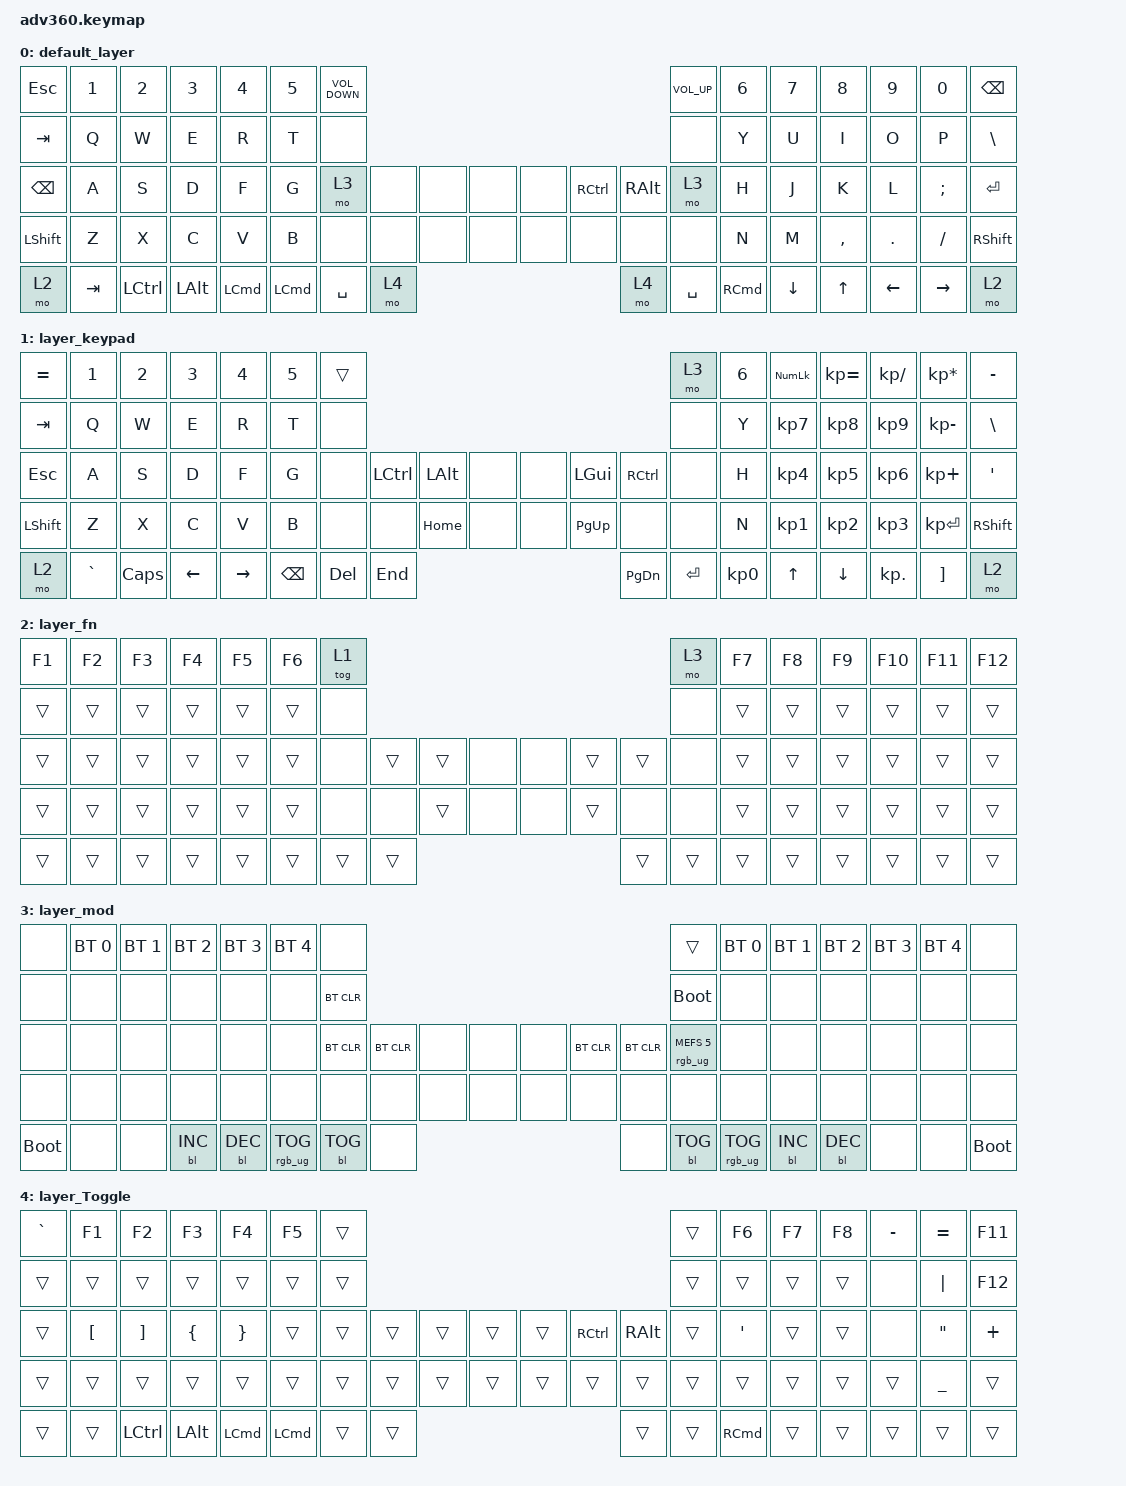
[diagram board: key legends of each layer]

/*
 * Copyright (c) 2020 The ZMK Contributors
 *
 * SPDX-License-Identifier: MIT
 */


/* THIS FILE WAS GENERATED!
 *
 * This file was generated automatically. You may or may not want to
 * edit it directly.
 */

#include <behaviors.dtsi>
#include <dt-bindings/zmk/keys.h>
#include <dt-bindings/zmk/bt.h>
#include <dt-bindings/zmk/rgb.h>
#include <dt-bindings/zmk/backlight.h>

/ {
  behaviors {
    #include "macros.dtsi"

    hm: homerow_mods {
        compatible = "zmk,behavior-hold-tap";
        label = "HOMEROW_MODS";
        #binding-cells = <2>;
        tapping-term-ms = <200>;
        quick_tap_ms = <175>;
        flavor = "tap-preferred";
        bindings = <&kp>, <&kp>;
    };
  };

    keymap {
        compatible = "zmk,keymap";


        default_layer {
            bindings = <
    &kp ESCAPE   &kp N1            &kp N2        &kp N3            &kp N4  &kp N5            &kp C_VOLUME_DOWN                                                                         &kp C_VOLUME_UP  &kp N6          &kp N7        &kp N8          &kp N9           &kp N0  &kp BACKSPACE
       &kp TAB    &kp Q             &kp W         &kp E             &kp R   &kp T                        &none                                                                                   &none   &kp Y           &kp U         &kp I           &kp O            &kp P  &kp BACKSLASH
 &kp BACKSPACE    &kp A             &kp S         &kp D             &kp F   &kp G                        &mo 3      &none   &none   &none   &none  &kp RIGHT_CONTROL  &kp RIGHT_ALT              &mo 3   &kp H           &kp J         &kp K           &kp L         &kp SEMI      &kp ENTER
     &kp LSHFT    &kp Z             &kp X         &kp C             &kp V   &kp B                        &none      &none   &none   &none   &none              &none          &none              &none   &kp N           &kp M     &kp COMMA         &kp DOT         &kp FSLH      &kp RSHFT
         &mo 2  &kp TAB  &kp LEFT_CONTROL  &kp LEFT_ALT  &kp LEFT_COMMAND                     &kp LEFT_COMMAND  &kp SPACE   &mo 4                              &mo 4      &kp SPACE  &kp RIGHT_COMMAND          &kp DOWN_ARROW  &kp UP_ARROW  &kp LEFT_ARROW  &kp RIGHT_ARROW          &mo 2
            >;
        };

        layer_keypad {
            bindings = <
 &kp EQUAL     &kp N1    &kp N2    &kp N3     &kp N4  &kp N5              &trans                                                                 &mo 3  &kp N6  &kp KP_NUM  &kp KP_EQUAL  &kp KP_DIVIDE  &kp KP_MULTIPLY  &kp MINUS
   &kp TAB      &kp Q     &kp W     &kp E      &kp R   &kp T               &none                                                                 &none   &kp Y   &kp KP_N7     &kp KP_N8      &kp KP_N9     &kp KP_MINUS   &kp BSLH
   &kp ESC      &kp A     &kp S     &kp D      &kp F   &kp G               &none  &kp LCTRL  &kp LALT   &none   &none   &kp LGUI  &kp RCTRL      &none   &kp H   &kp KP_N4     &kp KP_N5      &kp KP_N6      &kp KP_PLUS    &kp SQT
 &kp LSHFT      &kp Z     &kp X     &kp C      &kp V   &kp B               &none      &none  &kp HOME   &none   &none  &kp PG_UP      &none      &none   &kp N   &kp KP_N1     &kp KP_N2      &kp KP_N3     &kp KP_ENTER  &kp RSHFT
     &mo 2  &kp GRAVE  &kp CAPS  &kp LEFT  &kp RIGHT                    &kp BSPC    &kp DEL   &kp END                  &kp PG_DN  &kp ENTER  &kp KP_N0              &kp UP      &kp DOWN     &kp KP_DOT         &kp RBKT      &mo 2
            >;
        };

        layer_fn {
            bindings = <
 &kp F1  &kp F2  &kp F3  &kp F4  &kp F5  &kp F6            &tog 1                                                   &mo 3  &kp F7  &kp F8  &kp F9  &kp F10  &kp F11  &kp F12
 &trans  &trans  &trans  &trans  &trans  &trans             &none                                                   &none  &trans  &trans  &trans   &trans   &trans   &trans
 &trans  &trans  &trans  &trans  &trans  &trans             &none  &trans  &trans   &none   &none  &trans  &trans   &none  &trans  &trans  &trans   &trans   &trans   &trans
 &trans  &trans  &trans  &trans  &trans  &trans             &none   &none  &trans   &none   &none  &trans   &none   &none  &trans  &trans  &trans   &trans   &trans   &trans
 &trans  &trans  &trans  &trans  &trans                    &trans  &trans  &trans                  &trans  &trans  &trans          &trans  &trans   &trans   &trans   &trans
            >;
        };

        layer_mod {
            bindings = <
       &none  &bt BT_SEL 0  &bt BT_SEL 1  &bt BT_SEL 2  &bt BT_SEL 3  &bt BT_SEL 4                      &none                                                                              &trans  &bt BT_SEL 0  &bt BT_SEL 1  &bt BT_SEL 2  &bt BT_SEL 3  &bt BT_SEL 4        &none
       &none         &none         &none         &none         &none         &none                 &bt BT_CLR                                                                         &bootloader         &none         &none         &none         &none         &none        &none
       &none         &none         &none         &none         &none         &none                 &bt BT_CLR  &bt BT_CLR   &none   &none   &none  &bt BT_CLR  &bt BT_CLR  &rgb_ug RGB_MEFS_CMD 5         &none         &none         &none         &none         &none        &none
       &none         &none         &none         &none         &none         &none                      &none       &none   &none   &none   &none       &none       &none                   &none         &none         &none         &none         &none         &none        &none
 &bootloader         &none         &none    &bl BL_INC    &bl BL_DEC                          &rgb_ug RGB_TOG  &bl BL_TOG   &none                       &none  &bl BL_TOG         &rgb_ug RGB_TOG                  &bl BL_INC    &bl BL_DEC         &none         &none  &bootloader
            >;
        };

        layer_Toggle {
            bindings = <
 &kp GRAVE            &kp F1             &kp F2          &kp F3            &kp F4  &kp F5                      &trans                                                                               &trans            &kp F6  &kp F7  &kp F8  &kp MINUS          &kp EQUAL   &kp F11
    &trans            &trans             &trans          &trans            &trans  &trans                      &trans                                                                               &trans            &trans  &trans  &trans      &none           &kp PIPE   &kp F12
    &trans  &kp LEFT_BRACKET  &kp RIGHT_BRACKET  &kp LEFT_BRACE   &kp RIGHT_BRACE  &trans                      &trans  &trans  &trans  &trans  &trans  &kp RIGHT_CONTROL  &kp RIGHT_ALT             &trans  &kp SINGLE_QUOTE  &trans  &trans      &none  &kp DOUBLE_QUOTES  &kp PLUS
    &trans            &trans             &trans          &trans            &trans  &trans                      &trans  &trans  &trans  &trans  &trans             &trans         &trans             &trans            &trans  &trans  &trans     &trans     &kp UNDERSCORE    &trans
    &trans            &trans   &kp LEFT_CONTROL    &kp LEFT_ALT  &kp LEFT_COMMAND                    &kp LEFT_COMMAND  &trans  &trans                             &trans         &trans  &kp RIGHT_COMMAND                    &trans  &trans     &trans             &trans    &trans
            >;
        };

    };
};
